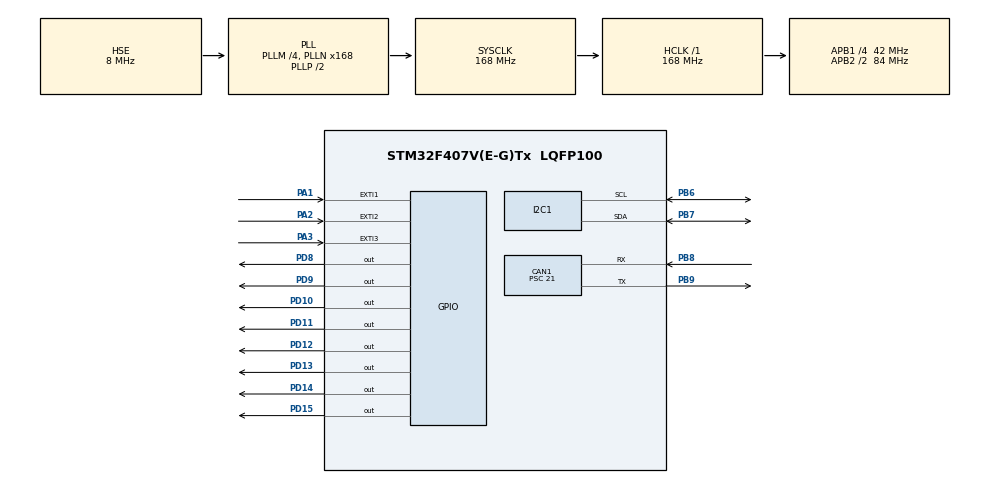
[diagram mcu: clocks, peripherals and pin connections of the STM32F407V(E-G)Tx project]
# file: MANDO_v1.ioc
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CAN1.ABOM=ENABLE
CAN1.AWUM=ENABLE
CAN1.BS1=CAN_BS1_2TQ
CAN1.CalculateBaudRate=500000
CAN1.CalculateTimeBit=2000
CAN1.CalculateTimeQuantum=500.0
CAN1.NART=ENABLE
CAN1.Prescaler=21
CAN1.RFLM=DISABLE
CAN1.TXFP=ENABLE
Mcu.Family=STM32F4
Mcu.Name=STM32F407V(E-G)Tx
Mcu.Package=LQFP100
NVIC.CAN1_RX0_IRQn=true\:0\:0\:false\:false\:true\:true\:true\:true
NVIC.EXTI1_IRQn=true\:0\:0\:false\:false\:true\:true\:true\:true
NVIC.EXTI2_IRQn=true\:0\:0\:false\:false\:true\:true\:true\:true
NVIC.EXTI3_IRQn=true\:0\:0\:false\:false\:true\:true\:true\:true
NVIC.PriorityGroup=NVIC_PRIORITYGROUP_0
NVIC.TIM2_IRQn=true\:0\:0\:false\:false\:true\:true\:true\:true
NVIC.TIM3_IRQn=true\:0\:0\:false\:false\:true\:true\:true\:true
NVIC.TIM4_IRQn=true\:0\:0\:false\:false\:true\:true\:true\:true
PA1.GPIO_ModeDefaultEXTI=GPIO_MODE_IT_RISING
PA1.GPIO_PuPd=GPIO_PULLDOWN
PA1.Signal=GPXTI1
PA2.GPIO_PuPd=GPIO_PULLDOWN
PA2.Signal=GPXTI2
PA3.GPIO_PuPd=GPIO_PULLDOWN
PA3.Signal=GPXTI3
PB6.Mode=I2C
PB6.Signal=I2C1_SCL
PB7.Mode=I2C
PB7.Signal=I2C1_SDA
PB8.GPIO_PuPd=GPIO_PULLUP
PB8.Mode=CAN_Activate
PB8.Signal=CAN1_RX
PB9.Mode=CAN_Activate
PB9.Signal=CAN1_TX
PD10.Signal=GPIO_Output
PD11.Signal=GPIO_Output
PD12.Signal=GPIO_Output
PD13.Signal=GPIO_Output
PD14.Signal=GPIO_Output
PD15.Signal=GPIO_Output
PD8.Signal=GPIO_Output
PD9.Signal=GPIO_Output
PH0-OSC_IN.Mode=HSE-External-Oscillator
PH0-OSC_IN.Signal=RCC_OSC_IN
PH1-OSC_OUT.Mode=HSE-External-Oscillator
PH1-OSC_OUT.Signal=RCC_OSC_OUT
ProjectManager.HeapSize=0x200
ProjectManager.StackSize=0x400
ProjectManager.TargetToolchain=STM32CubeIDE
RCC.48MHZClocksFreq_Value=48000000
RCC.AHBFreq_Value=168000000
RCC.APB1CLKDivider=RCC_HCLK_DIV4
RCC.APB1Freq_Value=42000000
RCC.APB1TimFreq_Value=84000000
RCC.APB2CLKDivider=RCC_HCLK_DIV2
RCC.APB2Freq_Value=84000000
RCC.APB2TimFreq_Value=168000000
RCC.CortexFreq_Value=168000000
RCC.HCLKFreq_Value=168000000
RCC.HSE_VALUE=8000000
RCC.HSI_VALUE=16000000
RCC.LSE_VALUE=32768
RCC.PLLM=4
RCC.PLLN=168
RCC.PLLQ=7
RCC.PLLSourceVirtual=RCC_PLLSOURCE_HSE
RCC.SYSCLKFreq_VALUE=168000000
RCC.SYSCLKSource=RCC_SYSCLKSOURCE_PLLCLK
RCC.VCOOutputFreq_Value=336000000
TIM2.Period=1999
TIM2.Prescaler=41999
TIM3.Period=2999
TIM3.Prescaler=41999
TIM4.Period=499
TIM4.Prescaler=41999
VP_TIM2_VS_ClockSourceINT.Mode=Internal
VP_TIM3_VS_ClockSourceINT.Mode=Internal
VP_TIM4_VS_ClockSourceINT.Mode=Internal
board=STM32F407G-DISC1

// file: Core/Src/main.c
/* USER CODE BEGIN Header */
/**
  ******************************************************************************
  * @file           : main.c
  * @brief          : Main program body
  ******************************************************************************
  * @attention
  *
  * Copyright (c) 2023 STMicroelectronics.
  * All rights reserved.
  *
  * This software is licensed under terms that can be found in the LICENSE file
  * in the root directory of this software component.
  * If no LICENSE file comes with this software, it is provided AS-IS.
  *
  ******************************************************************************
  */
/* USER CODE END Header */
#include "main.h"

/* USER CODE BEGIN Includes */
#include "i2c-lcd.h"
#include <string.h>
#include <stdio.h>

/* USER CODE END Includes */

/* USER CODE BEGIN PD */
#define NUM_MAP 5
/* USER CODE END PD */

CAN_HandleTypeDef hcan1;

I2C_HandleTypeDef hi2c1;

TIM_HandleTypeDef htim2;
TIM_HandleTypeDef htim3;
TIM_HandleTypeDef htim4;

void SystemClock_Config(void);
static void MX_GPIO_Init(void);
static void MX_CAN1_Init(void);
static void MX_TIM2_Init(void);
static void MX_TIM3_Init(void);
static void MX_I2C1_Init(void);
static void MX_TIM4_Init(void);

/* USER CODE BEGIN 0 */
CAN_TxHeaderTypeDef TxHeader;
CAN_RxHeaderTypeDef RxHeader;

uint8_t TxData[8];
uint8_t RxData[8];

uint32_t TxMailbox[3];

uint8_t mapaACT = 1;
uint8_t TC = 0; //Traction control
uint8_t LC = 0; //Launch control
uint16_t rpm = 0; //revoluciones

int i = 0;

volatile int buttonUP=0;
volatile int buttonDOWN=0;
volatile int buttonCTRL=0;

char t_pantalla[33];
char t_mapa[2];
char t_rpm[6];

uint8_t highByte;
uint8_t lowByte;

void SEND_MESSAGE(){ //Mandar una secuencia de datos u otra segun el mapa activo
    TxHeader.DLC = 2; //Data length (envio 2 bytes)
    TxHeader.IDE = CAN_ID_STD;
    TxHeader.RTR = CAN_RTR_DATA;
    TxHeader.StdId = 0x182; //ID (identificador del enviador)

    switch (mapaACT){
        case 1:
        	TxData[0] = 0x01;
        	break;
        case 2:
        	TxData[0] = 0x02;
        	break;
        case 3:
        	TxData[0] = 0x04;
        	break;
        case 4:
        	TxData[0] = 0x08;
        	break;
        case 5:
        	TxData[0] = 0x10;
        	break;
        }

    if (TC == 0 && LC == 0){
		TxData[1] = 0x00;
	} else if (TC == 1 && LC == 0){ //TC enabled
		TxData[1] = 0x01;
	} else if (TC == 0 && LC == 1){ //LC enabled
		TxData[1] = 0x02;
	} else if (TC == 1 && LC == 1){ //TC y LC enabled
		TxData[1] = 0x03;
	}

    	HAL_CAN_AddTxMessage(&hcan1, &TxHeader, TxData, &TxMailbox[0]);
    }

int debouncer(volatile int* button_int, GPIO_TypeDef* GPIO_port, uint16_t GPIO_number){
	static uint8_t button_count=0;
	static int counter=0;

	if (*button_int==1){
		if (button_count==0) {
			counter=HAL_GetTick();
			button_count++;
		}
		if (HAL_GetTick()-counter>=20){
			counter=HAL_GetTick();
			if (HAL_GPIO_ReadPin(GPIO_port, GPIO_number)!=1){
				button_count=1;
			}
			else{
				button_count++;
			}
			if (button_count==4){ //Periodo antirebotes
				button_count=0;
				*button_int=0;
				return 1;
			}
		}
	}
	return 0;
}

void MAPChange(){
	if (debouncer(&buttonUP, GPIOA, GPIO_PIN_1)){
		if (mapaACT < NUM_MAP){
			mapaACT++;
		} else {
			mapaACT = 1;
		}
		SEND_MESSAGE();
	}
	if (debouncer(&buttonDOWN, GPIOA, GPIO_PIN_2)){
		if (mapaACT > 1 ){
			mapaACT--;
		} else {
			mapaACT = NUM_MAP;
		}
		SEND_MESSAGE();
	}
}

void HAL_GPIO_EXTI_Callback(uint16_t GPIO_Pin){ //Cambio de mapa activo segun el botón que se pulse
	if (GPIO_Pin == GPIO_PIN_1){ //Al pulsar el boton rojo se sube de mapa
		buttonUP = 1;
		buttonDOWN = 0;
		buttonCTRL = 0;
	}

	if (GPIO_Pin == GPIO_PIN_2){ //Al pulsar el boton amarillo se baja de mapa
		buttonDOWN = 1;
		buttonUP = 0;
		buttonCTRL = 0;
	}
	if (GPIO_Pin == GPIO_PIN_3){ //Al pulsar el boton azul
		buttonCTRL = 1;
		buttonDOWN = 0;
		buttonUP = 0;
	}
}

void RECEIVE_MESSAGE(){
	switch (RxData[0]){
	    case 0x81:
	    	HAL_GPIO_WritePin(GPIOD, GPIO_PIN_15, 1);
	    	HAL_GPIO_WritePin(GPIOD, GPIO_PIN_14, 0);
	    	HAL_GPIO_WritePin(GPIOD, GPIO_PIN_13, 0);
	    	HAL_GPIO_WritePin(GPIOD, GPIO_PIN_12, 0);
	    	HAL_GPIO_WritePin(GPIOD, GPIO_PIN_11, 0);
	    	break;
	    case 0x82:
	    	HAL_GPIO_WritePin(GPIOD, GPIO_PIN_14, 1);
	    	HAL_GPIO_WritePin(GPIOD, GPIO_PIN_13, 0);
	    	break;
	    case 0x84:
	    	HAL_GPIO_WritePin(GPIOD, GPIO_PIN_13, 1);
	    	HAL_GPIO_WritePin(GPIOD, GPIO_PIN_12, 0);
	    	break;
	    case 0x88:
	    	HAL_GPIO_WritePin(GPIOD, GPIO_PIN_12, 1);
	    	HAL_GPIO_WritePin(GPIOD, GPIO_PIN_11, 0);
	    	break;
	    case 0x90:
	    	HAL_GPIO_WritePin(GPIOD, GPIO_PIN_15, 1);
	    	HAL_GPIO_WritePin(GPIOD, GPIO_PIN_14, 1);
	    	HAL_GPIO_WritePin(GPIOD, GPIO_PIN_13, 1);
	    	HAL_GPIO_WritePin(GPIOD, GPIO_PIN_12, 1);
	    	HAL_GPIO_WritePin(GPIOD, GPIO_PIN_11, 1);
	    	break;
	}

	switch (RxData[1]){
	    case 0x80: //TC y LC disabled
	    	HAL_GPIO_WritePin(GPIOD, GPIO_PIN_10, 0);
	    	HAL_GPIO_WritePin(GPIOD, GPIO_PIN_9, 0);
	    	TC = 0;
	    	LC = 0;
	    	break;
	    case 0x81: //TC enabled
	    	HAL_GPIO_WritePin(GPIOD, GPIO_PIN_10, 1);
	    	HAL_GPIO_WritePin(GPIOD, GPIO_PIN_9, 0);
	    	TC = 1;
	    	LC = 0;
	    	break;
	    case 0x82: //LC enabled
	    	HAL_GPIO_WritePin(GPIOD, GPIO_PIN_10, 0);
	    	HAL_GPIO_WritePin(GPIOD, GPIO_PIN_9, 1);
	    	TC = 0;
	    	LC = 1;
	    	break;
	    case 0x83: //TC y LC enabled
	    	HAL_GPIO_WritePin(GPIOD, GPIO_PIN_10, 1);
	    	HAL_GPIO_WritePin(GPIOD, GPIO_PIN_9, 1);
	    	TC = 1;
	    	LC = 1;
	    	break;
	}
}

uint16_t combineBytes(uint8_t highByte, uint8_t lowByte) {
    return ((uint16_t)highByte << 8) | lowByte; //Desplaza los 2 primeros bytes a su posición correcta y añade los 2 últimos bytes
}

void HAL_CAN_RxFifo0MsgPendingCallback(CAN_HandleTypeDef *hcan){ //Para recibir mensajes del bus //<-- REVISAR hcan o hcan1
	HAL_CAN_GetRxMessage(hcan, CAN_RX_FIFO0, &RxHeader, RxData);
	if (RxHeader.StdId == 0x181){
		RECEIVE_MESSAGE();
	}
	if (RxHeader.StdId == 0x701){
		HAL_GPIO_TogglePin(GPIOD, GPIO_PIN_8); //Heartbeat
		//Activar las interrupciones
			HAL_NVIC_EnableIRQ(EXTI1_IRQn);
			HAL_NVIC_EnableIRQ(EXTI2_IRQn);
	}
	if (RxHeader.StdId == 0x381){
		highByte = RxData[0];
		lowByte = RxData[1];
	}
}

void HAL_TIM_PeriodElapsedCallback(TIM_HandleTypeDef *htim){ //Heartbeat
	if(htim->Instance==TIM2){
	    TxHeader.DLC = 1; //Data length
	    TxHeader.IDE = CAN_ID_STD;
	    TxHeader.RTR = CAN_RTR_DATA;
	    TxHeader.StdId = 0x702; //ID (identificador del enviador)

	    if(i == 0){
	    	TxData[0] = 0x80;
	    	i ++;
	    } else {
	    	TxData[0] = 0x01;
	    }

	    HAL_CAN_AddTxMessage(&hcan1, &TxHeader, TxData, &TxMailbox[1]);
	}
	if(htim->Instance==TIM3){
		if (HAL_GPIO_ReadPin(GPIOA, GPIO_PIN_3)){
			LC = 1;
		} else {
			if (TC == 0){
				TC = 1;
			} else {
				TC = 0;
			}
		}
		HAL_TIM_Base_Stop_IT(&htim3);
		SEND_MESSAGE();
	}
	if (htim->Instance == TIM4){
		lcd_update(t_pantalla);
	}
}

/* USER CODE END 0 */

int main(void)
{

  /* MCU Configuration--------------------------------------------------------*/

  /* Reset of all peripherals, Initializes the Flash interface and the Systick. */
  HAL_Init();

  /* Configure the system clock */
  SystemClock_Config();

  /* Initialize all configured peripherals */
  MX_GPIO_Init();
  MX_CAN1_Init();
  MX_TIM2_Init();
  MX_TIM3_Init();
  MX_I2C1_Init();
  MX_TIM4_Init();
  /* USER CODE BEGIN 2 */
  HAL_CAN_Start(&hcan1);
  HAL_TIM_Base_Start_IT(&htim2);
  HAL_TIM_Base_Start_IT(&htim4);
  lcd_init();

    //Activar la notificacion de que hay mensajes para recibir
    HAL_CAN_ActivateNotification(&hcan1, CAN_IT_RX_FIFO0_MSG_PENDING);

    HAL_GPIO_WritePin(GPIOD, GPIO_PIN_15, 1);

    //Al principio están desactivadas las interrrupciones de los botones
    HAL_NVIC_DisableIRQ(EXTI1_IRQn);
    HAL_NVIC_DisableIRQ(EXTI2_IRQn);

  /* USER CODE END 2 */

  /* Infinite loop */
  while (1)
  {

    /* USER CODE BEGIN 3 */
	  if (buttonUP==1 || buttonDOWN==1){
		  MAPChange();
	  }

	  if (buttonCTRL==1){
		  if (debouncer(&buttonCTRL, GPIOA, GPIO_PIN_3)){
				buttonUP = 0;
				buttonDOWN = 0;
				buttonCTRL = 0;
		  	HAL_TIM_Base_Start_IT(&htim3);
		  }
	  }

	  // Recombinar los bytes en un valor de 16 bits
	  rpm = combineBytes(highByte, lowByte);

	  sprintf(t_mapa, "%i", mapaACT);
	  sprintf(t_rpm, "%u", rpm);
	  if (TC == 1){
		  strcpy(t_pantalla, "TC:ON ");
	  } else {
		  strcpy(t_pantalla, "TC:OFF");
	  }
	  if (LC == 1){
		  strcat(t_pantalla, " LC:ON ");
	  } else {
		  strcat(t_pantalla, " LC:OFF");
	  }
	  strcat (t_pantalla, "   MAPA:");
	  strcat(t_pantalla, t_mapa);
	  strcat(t_pantalla, " RPM:");
	  strcat(t_pantalla, t_rpm);
	  strcat(t_pantalla, "    ");

  }
  /* USER CODE END 3 */
}

void SystemClock_Config(void)
{
  RCC_OscInitTypeDef RCC_OscInitStruct = {0};
  RCC_ClkInitTypeDef RCC_ClkInitStruct = {0};

  /** Configure the main internal regulator output voltage
  */
  __HAL_RCC_PWR_CLK_ENABLE();
  __HAL_PWR_VOLTAGESCALING_CONFIG(PWR_REGULATOR_VOLTAGE_SCALE1);

  /** Initializes the RCC Oscillators according to the specified parameters
  * in the RCC_OscInitTypeDef structure.
  */
  RCC_OscInitStruct.OscillatorType = RCC_OSCILLATORTYPE_HSE;
  RCC_OscInitStruct.HSEState = RCC_HSE_ON;
  RCC_OscInitStruct.PLL.PLLState = RCC_PLL_ON;
  RCC_OscInitStruct.PLL.PLLSource = RCC_PLLSOURCE_HSE;
  RCC_OscInitStruct.PLL.PLLM = 4;
  RCC_OscInitStruct.PLL.PLLN = 168;
  RCC_OscInitStruct.PLL.PLLP = RCC_PLLP_DIV2;
  RCC_OscInitStruct.PLL.PLLQ = 7;
  if (HAL_RCC_OscConfig(&RCC_OscInitStruct) != HAL_OK)
  {
    Error_Handler();
  }

  /** Initializes the CPU, AHB and APB buses clocks
  */
  RCC_ClkInitStruct.ClockType = RCC_CLOCKTYPE_HCLK|RCC_CLOCKTYPE_SYSCLK
                              |RCC_CLOCKTYPE_PCLK1|RCC_CLOCKTYPE_PCLK2;
  RCC_ClkInitStruct.SYSCLKSource = RCC_SYSCLKSOURCE_PLLCLK;
  RCC_ClkInitStruct.AHBCLKDivider = RCC_SYSCLK_DIV1;
  RCC_ClkInitStruct.APB1CLKDivider = RCC_HCLK_DIV4;
  RCC_ClkInitStruct.APB2CLKDivider = RCC_HCLK_DIV2;

  if (HAL_RCC_ClockConfig(&RCC_ClkInitStruct, FLASH_LATENCY_5) != HAL_OK)
  {
    Error_Handler();
  }
}

static void MX_CAN1_Init(void)
{

  hcan1.Instance = CAN1;
  hcan1.Init.Prescaler = 21;
  hcan1.Init.Mode = CAN_MODE_NORMAL;
  hcan1.Init.SyncJumpWidth = CAN_SJW_1TQ;
  hcan1.Init.TimeSeg1 = CAN_BS1_2TQ;
  hcan1.Init.TimeSeg2 = CAN_BS2_1TQ;
  hcan1.Init.TimeTriggeredMode = DISABLE;
  hcan1.Init.AutoBusOff = ENABLE;
  hcan1.Init.AutoWakeUp = ENABLE;
  hcan1.Init.AutoRetransmission = ENABLE;
  hcan1.Init.ReceiveFifoLocked = DISABLE;
  hcan1.Init.TransmitFifoPriority = ENABLE;
  if (HAL_CAN_Init(&hcan1) != HAL_OK)
  {
    Error_Handler();
  }
  /* USER CODE BEGIN CAN1_Init 2 */
  CAN_FilterTypeDef canfilterconfig;

      canfilterconfig.FilterActivation = CAN_FILTER_ENABLE;
      canfilterconfig.FilterBank = 18; //which filter bank to use from the assigned ones
      canfilterconfig.FilterFIFOAssignment = CAN_RX_FIFO0; //Para guardar el mensaje entrante
      canfilterconfig.FilterIdHigh = 0x101<<5;
      canfilterconfig.FilterIdLow = 0x0000;
      canfilterconfig.FilterMaskIdHigh = 0x101<<5; //Escribo en la posicion 5
      canfilterconfig.FilterMaskIdLow = 0x0000;
      canfilterconfig.FilterMode = CAN_FILTERMODE_IDMASK;
      canfilterconfig.FilterScale = CAN_FILTERSCALE_32BIT;
      canfilterconfig.SlaveStartFilterBank = 20; //how many filters to assign to the CAN1 (master can)

      HAL_CAN_ConfigFilter(&hcan1, &canfilterconfig);

  /* USER CODE END CAN1_Init 2 */

}

static void MX_I2C1_Init(void)
{

  hi2c1.Instance = I2C1;
  hi2c1.Init.ClockSpeed = 100000;
  hi2c1.Init.DutyCycle = I2C_DUTYCYCLE_2;
  hi2c1.Init.OwnAddress1 = 0;
  hi2c1.Init.AddressingMode = I2C_ADDRESSINGMODE_7BIT;
  hi2c1.Init.DualAddressMode = I2C_DUALADDRESS_DISABLE;
  hi2c1.Init.OwnAddress2 = 0;
  hi2c1.Init.GeneralCallMode = I2C_GENERALCALL_DISABLE;
  hi2c1.Init.NoStretchMode = I2C_NOSTRETCH_DISABLE;
  if (HAL_I2C_Init(&hi2c1) != HAL_OK)
  {
    Error_Handler();
  }

}

static void MX_TIM2_Init(void)
{

  TIM_ClockConfigTypeDef sClockSourceConfig = {0};
  TIM_MasterConfigTypeDef sMasterConfig = {0};

  htim2.Instance = TIM2;
  htim2.Init.Prescaler = 41999;
  htim2.Init.CounterMode = TIM_COUNTERMODE_UP;
  htim2.Init.Period = 1999;
  htim2.Init.ClockDivision = TIM_CLOCKDIVISION_DIV1;
  htim2.Init.AutoReloadPreload = TIM_AUTORELOAD_PRELOAD_DISABLE;
  if (HAL_TIM_Base_Init(&htim2) != HAL_OK)
  {
    Error_Handler();
  }
  sClockSourceConfig.ClockSource = TIM_CLOCKSOURCE_INTERNAL;
  if (HAL_TIM_ConfigClockSource(&htim2, &sClockSourceConfig) != HAL_OK)
  {
    Error_Handler();
  }
  sMasterConfig.MasterOutputTrigger = TIM_TRGO_RESET;
  sMasterConfig.MasterSlaveMode = TIM_MASTERSLAVEMODE_DISABLE;
  if (HAL_TIMEx_MasterConfigSynchronization(&htim2, &sMasterConfig) != HAL_OK)
  {
    Error_Handler();
  }

}

static void MX_TIM3_Init(void)
{

  TIM_ClockConfigTypeDef sClockSourceConfig = {0};
  TIM_MasterConfigTypeDef sMasterConfig = {0};

  htim3.Instance = TIM3;
  htim3.Init.Prescaler = 41999;
  htim3.Init.CounterMode = TIM_COUNTERMODE_UP;
  htim3.Init.Period = 2999;
  htim3.Init.ClockDivision = TIM_CLOCKDIVISION_DIV1;
  htim3.Init.AutoReloadPreload = TIM_AUTORELOAD_PRELOAD_DISABLE;
  if (HAL_TIM_Base_Init(&htim3) != HAL_OK)
  {
    Error_Handler();
  }
  sClockSourceConfig.ClockSource = TIM_CLOCKSOURCE_INTERNAL;
  if (HAL_TIM_ConfigClockSource(&htim3, &sClockSourceConfig) != HAL_OK)
  {
    Error_Handler();
  }
  sMasterConfig.MasterOutputTrigger = TIM_TRGO_RESET;
  sMasterConfig.MasterSlaveMode = TIM_MASTERSLAVEMODE_DISABLE;
  if (HAL_TIMEx_MasterConfigSynchronization(&htim3, &sMasterConfig) != HAL_OK)
  {
    Error_Handler();
  }
  /* USER CODE BEGIN TIM3_Init 2 */
  // Limpiar cualquier interrupción pendiente
  __HAL_TIM_CLEAR_FLAG(&htim3, TIM_IT_UPDATE);

  /* USER CODE END TIM3_Init 2 */

}

static void MX_TIM4_Init(void)
{

  TIM_ClockConfigTypeDef sClockSourceConfig = {0};
  TIM_MasterConfigTypeDef sMasterConfig = {0};

  htim4.Instance = TIM4;
  htim4.Init.Prescaler = 41999;
  htim4.Init.CounterMode = TIM_COUNTERMODE_UP;
  htim4.Init.Period = 499;
  htim4.Init.ClockDivision = TIM_CLOCKDIVISION_DIV1;
  htim4.Init.AutoReloadPreload = TIM_AUTORELOAD_PRELOAD_DISABLE;
  if (HAL_TIM_Base_Init(&htim4) != HAL_OK)
  {
    Error_Handler();
  }
  sClockSourceConfig.ClockSource = TIM_CLOCKSOURCE_INTERNAL;
  if (HAL_TIM_ConfigClockSource(&htim4, &sClockSourceConfig) != HAL_OK)
  {
    Error_Handler();
  }
  sMasterConfig.MasterOutputTrigger = TIM_TRGO_RESET;
  sMasterConfig.MasterSlaveMode = TIM_MASTERSLAVEMODE_DISABLE;
  if (HAL_TIMEx_MasterConfigSynchronization(&htim4, &sMasterConfig) != HAL_OK)
  {
    Error_Handler();
  }

}

static void MX_GPIO_Init(void)
{
  GPIO_InitTypeDef GPIO_InitStruct = {0};

  /* GPIO Ports Clock Enable */
  __HAL_RCC_GPIOH_CLK_ENABLE();
  __HAL_RCC_GPIOA_CLK_ENABLE();
  __HAL_RCC_GPIOD_CLK_ENABLE();
  __HAL_RCC_GPIOB_CLK_ENABLE();

  /*Configure GPIO pin Output Level */
  HAL_GPIO_WritePin(GPIOD, GPIO_PIN_8|GPIO_PIN_9|GPIO_PIN_10|GPIO_PIN_11
                          |GPIO_PIN_12|GPIO_PIN_13|GPIO_PIN_14|GPIO_PIN_15, GPIO_PIN_RESET);

  /*Configure GPIO pins : PA1 PA2 PA3 */
  GPIO_InitStruct.Pin = GPIO_PIN_1|GPIO_PIN_2|GPIO_PIN_3;
  GPIO_InitStruct.Mode = GPIO_MODE_IT_RISING;
  GPIO_InitStruct.Pull = GPIO_PULLDOWN;
  HAL_GPIO_Init(GPIOA, &GPIO_InitStruct);

  /*Configure GPIO pins : PD8 PD9 PD10 PD11
                           PD12 PD13 PD14 PD15 */
  GPIO_InitStruct.Pin = GPIO_PIN_8|GPIO_PIN_9|GPIO_PIN_10|GPIO_PIN_11
                          |GPIO_PIN_12|GPIO_PIN_13|GPIO_PIN_14|GPIO_PIN_15;
  GPIO_InitStruct.Mode = GPIO_MODE_OUTPUT_PP;
  GPIO_InitStruct.Pull = GPIO_NOPULL;
  GPIO_InitStruct.Speed = GPIO_SPEED_FREQ_LOW;
  HAL_GPIO_Init(GPIOD, &GPIO_InitStruct);

  /* EXTI interrupt init*/
  HAL_NVIC_SetPriority(EXTI1_IRQn, 0, 0);
  HAL_NVIC_EnableIRQ(EXTI1_IRQn);

  HAL_NVIC_SetPriority(EXTI2_IRQn, 0, 0);
  HAL_NVIC_EnableIRQ(EXTI2_IRQn);

  HAL_NVIC_SetPriority(EXTI3_IRQn, 0, 0);
  HAL_NVIC_EnableIRQ(EXTI3_IRQn);

}

void Error_Handler(void)
{
  __disable_irq();
  while (1)
  {
  }
}
